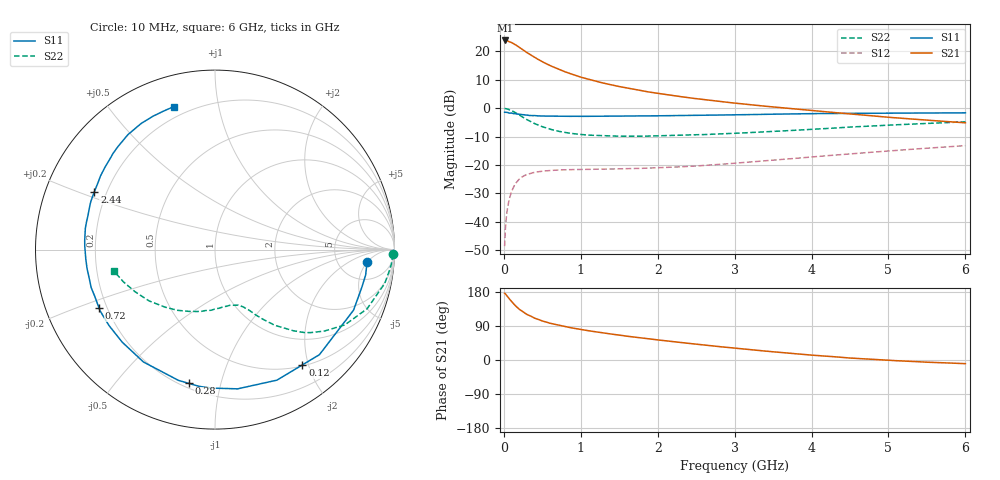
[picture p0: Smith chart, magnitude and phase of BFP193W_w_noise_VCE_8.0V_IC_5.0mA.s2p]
! Infineon Technologies  Discrete & RF Semiconductors
! BFP193W
! VCE = 8.0 V,  IC =  5.0 mA
! Common Emitter S-Parameters:  Jan 2016
# GHz  S  MA  R  50
!  f  S11  S21  S12  S22
! GHz  MAG  ANG  MAG  ANG  MAG  ANG  MAG  ANG
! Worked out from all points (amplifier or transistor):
!   210 points, 10 MHz to 6 GHz, reference 50 ohm
!   highest |S21| = 23.9 dB at 20 MHz (marker M1)
!   |S21| within 3 dB of that: start of sweep to 232.3 MHz
!   unconditionally stable (mu >= 1): 1.733 GHz to 4.403 GHz
!   at 185 MHz: K = 0.14, MSG = 23.6 dB, |S12| = -25.5 dB
!   at 1.52 GHz: K = 0.91, MSG = 14.5 dB, |S12| = -21.4 dB
!   at 6 GHz: K = 0.91, MSG = 4.0 dB, |S12| = -13.2 dB
!   lowest NFmin = 1.20 dB at 450 MHz
!   S11 on the Smith chart (normalised r, x): 10 MHz: 10, -5; 120 MHz: 0.52, -1.90; 280 MHz: 0.23, -0.80; 720 MHz: 0.17, -0.23; 2.44 GHz: 0.15, +0.22; 6 GHz: 0.15, +0.74
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0.01  0.8502 -4.7  15.56 176.3  0.0037 87.4  0.9915 -1.5
0.02  0.8512 -9.5  15.64 174.5  0.0074 83.9  0.986 -4.7
0.05  0.8425 -23.6  15.3 166.6  0.0182 77.8  0.9643 -11.3
0.06  0.8297 -27.8  15.06 164.2  0.0213 74.4  0.9512 -13.2
0.1  0.8254 -45.2  14.4 154.2  0.034 67.0  0.9096 -21.2
0.12  0.8061 -52.8  13.86 150.0  0.039 62.6  0.8778 -24.6
0.15  0.8051 -64.6  13.21 143.0  0.0468 57.7  0.8363 -30.1
0.2  0.7859 -80.8  11.85 134.0  0.0561 50.2  0.7596 -36.7
0.28  0.7595 -101.1  9.989 122.9  0.066 41.4  0.6535 -44.4
0.3  0.7566 -105.6  9.555 120.2  0.0679 39.5  0.6284 -46.0
0.4  0.7423 -122.5  7.844 110.4  0.0742 32.9  0.536 -51.8
0.5  0.7302 -135.1  6.583 102.9  0.0778 28.7  0.4721 -55.4
0.6  0.7264 -144.5  5.638 97.0  0.0799 25.9  0.4266 -58.2
0.72  0.7235 -153.1  4.825 91.4  0.0815 24.0  0.39 -60.5
1.02  0.7186 -168.2  3.469 80.0  0.0832 21.8  0.3425 -66.0
1.4  0.7256 178.8  2.575 68.3  0.0848 22.7  0.3246 -73.0
2.02  0.7352 163.1  1.814 52.6  0.0894 28.0  0.327 -85.5
2.44  0.7457 154.3  1.508 43.1  0.0948 32.2  0.3394 -94.8
3.1  0.7675 141.9  1.192 29.5  0.1098 37.9  0.3663 -109.8
4.1  0.8048 125.7  0.885 11.5  0.1418 41.1  0.4309 -133.2
5.1  0.8198 114.2  0.676 -1.8  0.1805 39.7  0.5104 -154.1
6  0.8293 106.0  0.553 -9.7  0.2192 36.1  0.5762 -168.1
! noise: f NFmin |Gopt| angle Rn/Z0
0.45  1.2  0.26  102  0.14
0.9  1.25  0.38  145  0.12
1.8  2.05  0.56  -161  0.12
